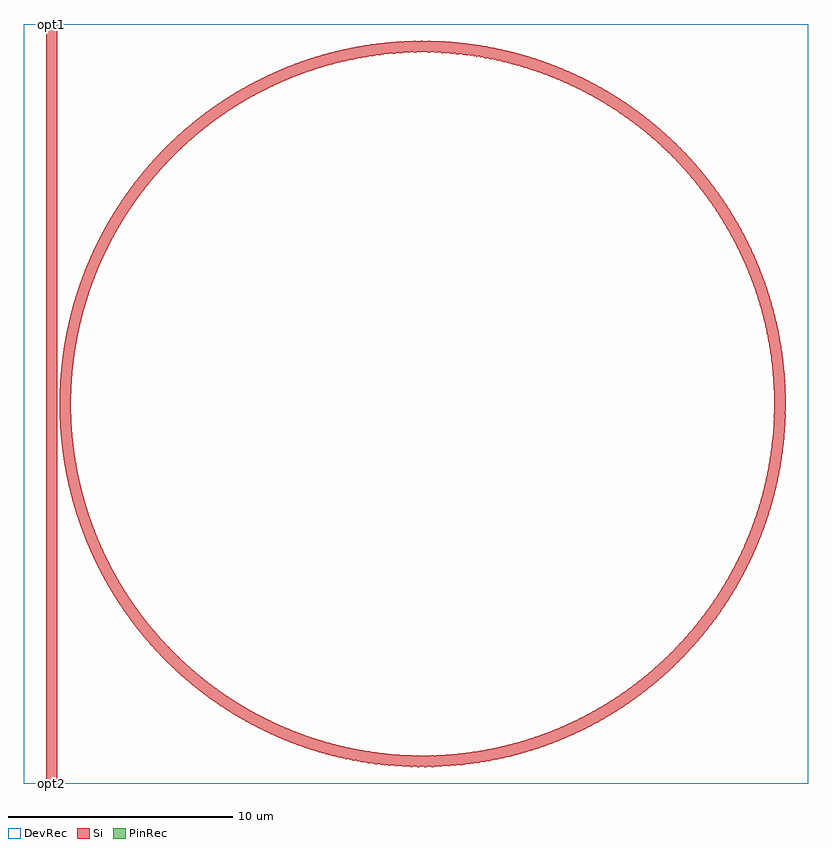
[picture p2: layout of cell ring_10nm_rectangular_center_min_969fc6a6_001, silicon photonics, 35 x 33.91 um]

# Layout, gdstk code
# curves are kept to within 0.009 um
import gdstk
lib = gdstk.Library(unit=1e-6, precision=1e-09)
def R(c, l, rs):  # rectangles x0, y0, x1, y1
    for r in rs: c.add(gdstk.rectangle(r[:2], r[2:], *l))
def P(c, l, *ps):  # polygons
    for p in ps: c.add(gdstk.Polygon(p, *l))
Si = (1, 0)
PinRec = (1, 10)
DevRec = (68, 0)

ring_10nm_rectangular_ce = lib.new_cell('ring_10nm_rectangular_center_min_969fc6a6_001')
R(ring_10nm_rectangular_ce, Si, [(-16.793,-16.943,-16.293,16.943)])
P(ring_10nm_rectangular_ce, Si, [(3.963,15.174),(3.757,15.237),(3.62,15.259),(3.608,15.273),(3.1,15.384),(3.095,15.374),(3.02,15.389),(2.984,15.407),(2.487,15.495),(2.482,15.485),(2.385,15.511),(1.94,15.572),(2.002,16.069),(2.224,16.05),(2.253,16.035),(2.476,16.002),(2.495,16.01),(2.786,15.951),(2.796,15.96),(2.865,15.948),(2.888,15.933),(3.106,15.892),(3.141,15.896),(3.416,15.828),(3.431,15.836),(3.734,15.756),(3.743,15.765),(3.826,15.745),(3.838,15.731),(4.045,15.679),(4.053,15.688),(4.095,15.677)],
  [(9.492,12.484),(9.482,12.505),(9.236,12.674),(9.226,12.695),(8.991,12.849),(8.983,12.868),(8.825,12.977),(8.809,12.975),(8.728,13.029),(8.7,13.061),(8.469,13.199),(8.465,13.214),(8.308,13.314),(8.285,13.316),(8.152,13.41),(7.979,13.501),(7.778,13.63),(8.026,14.064),(8.255,13.943),(8.286,13.912),(8.463,13.805),(8.482,13.806),(8.577,13.734),(8.83,13.586),(8.839,13.567),(9.036,13.45),(9.118,13.381),(9.362,13.225),(9.378,13.2),(9.58,13.068),(9.786,12.901),(9.807,12.898)],
  [(6.563,-14.803),(6.36,-14.346),(6.418,-14.309),(6.696,-14.193),(6.694,-14.182),(6.782,-14.14),(6.789,-14.148),(6.843,-14.123),(6.973,-14.059),(6.981,-14.043),(7.254,-13.916),(7.252,-13.905),(7.336,-13.861),(7.359,-13.861),(7.528,-13.77),(7.525,-13.759),(7.791,-13.623),(7.885,-13.556),(7.893,-13.564),(7.929,-13.543),(8.154,-13.396),(8.187,-13.388),(8.448,-13.815),(8.424,-13.841),(7.512,-14.357),(7.485,-14.359),(7.295,-14.456),(7.297,-14.467),(7.019,-14.592),(6.925,-14.649),(6.904,-14.647),(6.716,-14.734),(6.709,-14.749)],
  [(-15.587,1.822),(-16.083,1.88),(-16.088,1.924),(-16.077,1.932),(-16.038,2.231),(-16.047,2.244),(-16.036,2.249),(-15.99,2.553),(-15.999,2.564),(-15.988,2.565),(-15.936,2.872),(-15.945,2.88),(-15.933,2.887),(-15.876,3.186),(-15.886,3.191),(-15.873,3.201),(-15.81,3.499),(-15.819,3.507),(-15.806,3.517),(-15.737,3.814),(-15.746,3.822),(-15.732,3.834),(-15.698,3.973),(-15.213,3.851),(-15.427,2.879),(-15.442,2.795),(-15.433,2.787),(-15.445,2.78),(-15.495,2.486),(-15.485,2.482),(-15.497,2.475),(-15.517,2.346),(-15.541,2.18),(-15.531,2.175),(-15.543,2.165),(-15.578,1.899),(-15.572,1.862)],
  [(-4.195,15.122),(-4.329,15.603),(-4.176,15.656),(-4.138,15.655),(-3.899,15.716),(-3.872,15.734),(-3.83,15.744),(-3.822,15.735),(-3.588,15.79),(-3.575,15.804),(-3.269,15.859),(-3.265,15.871),(-2.958,15.92),(-2.915,15.939),(-2.877,15.935),(-2.64,15.976),(-2.596,15.994),(-2.569,15.998),(-2.565,15.988),(-2.253,16.046),(-2.245,16.036),(-2.177,15.531),(-2.462,15.499),(-2.487,15.484),(-2.573,15.481),(-3.096,15.385),(-3.105,15.372),(-3.307,15.341),(-3.46,15.296),(-3.483,15.302)],
  [(11.054,11.138),(10.929,11.247),(10.762,11.422),(10.752,11.416),(10.681,11.483),(10.641,11.535),(10.496,11.652),(10.3,11.84),(10.291,11.834),(10.228,11.888),(10.195,11.931),(10.016,12.067),(9.824,12.238),(9.811,12.235),(9.741,12.29),(9.725,12.317),(9.492,12.484),(9.807,12.898),(10.621,12.237),(10.632,12.213),(10.776,12.086),(10.788,12.09),(10.997,11.885),(11.096,11.808),(11.104,11.786),(11.243,11.653),(11.266,11.646),(11.407,11.493)],
  [(-16.191,-0.245),(-16.19,0.318),(-16.2,0.322),(-16.189,0.331),(-16.164,0.961),(-16.174,0.964),(-16.163,0.976),(-16.142,1.277),(-16.152,1.287),(-16.141,1.289),(-16.113,1.602),(-16.123,1.606),(-16.112,1.614),(-16.084,1.877),(-15.587,1.822),(-15.673,0.798),(-15.691,-0.238)],
  [(-13.688,7.674),(-14.125,7.919),(-14.09,8.001),(-14.075,8.006),(-13.931,8.254),(-13.934,8.27),(-13.914,8.283),(-13.765,8.528),(-13.76,8.556),(-13.741,8.566),(-13.594,8.798),(-13.593,8.819),(-13.569,8.836),(-13.414,9.07),(-13.406,9.101),(-13.39,9.105),(-13.234,9.331),(-13.227,9.359),(-13.206,9.37),(-13.047,9.59),(-13.045,9.611),(-12.964,9.703),(-12.564,9.403),(-13.133,8.591),(-13.155,8.556),(-13.148,8.548),(-13.183,8.514),(-13.322,8.294),(-13.319,8.279),(-13.339,8.267),(-13.415,8.144),(-13.485,8.027),(-13.477,8.019),(-13.5,8.002),(-13.642,7.757),(-13.636,7.746)],
  [(11.75,-11.143),(11.387,-10.799),(11.448,-10.734),(11.45,-10.716),(11.54,-10.635),(11.687,-10.457),(11.801,-10.345),(11.899,-10.215),(12.06,-10.042),(12.059,-10.026),(12.121,-9.951),(12.167,-9.912),(12.328,-9.693),(12.342,-9.693),(12.44,-9.567),(12.51,-9.457),(12.533,-9.445),(12.697,-9.206),(13.118,-9.511),(12.471,-10.345),(12.446,-10.359),(12.326,-10.501),(12.33,-10.513),(12.154,-10.699),(12.057,-10.825),(12.014,-10.856),(11.899,-10.982),(11.903,-10.994)],
  [(5.923,14.532),(4.957,14.89),(4.892,14.9),(4.819,14.924),(4.816,14.936),(4.523,15.016),(4.52,15.028),(4.362,15.075),(4.305,15.08),(4.014,15.171),(3.963,15.174),(4.095,15.677),(4.145,15.653),(4.451,15.58),(4.451,15.569),(4.661,15.507),(4.676,15.514),(4.758,15.489),(4.763,15.476),(5.063,15.392),(5.065,15.38),(5.276,15.309),(5.297,15.313),(5.557,15.209),(5.67,15.179),(5.677,15.165),(5.865,15.093),(5.895,15.093),(6.112,14.995)],
  [(-14.577,5.813),(-15.041,5.998),(-14.937,6.252),(-14.94,6.273),(-14.929,6.271),(-14.813,6.54),(-14.818,6.555),(-14.797,6.576),(-14.681,6.831),(-14.679,6.861),(-14.659,6.878),(-14.539,7.128),(-14.547,7.136),(-14.527,7.153),(-14.401,7.403),(-14.395,7.438),(-14.38,7.444),(-14.246,7.697),(-14.254,7.705),(-14.232,7.724),(-14.125,7.919),(-13.688,7.674),(-13.938,7.212),(-13.934,7.196),(-13.953,7.183),(-14.074,6.943),(-14.072,6.922),(-14.092,6.906),(-14.168,6.749)],
  [(-1.772,-16.106),(-2.792,-15.961),(-2.814,-15.946),(-3.039,-15.905),(-3.059,-15.912),(-3.355,-15.841),(-3.36,-15.851),(-3.426,-15.837),(-3.43,-15.825),(-3.662,-15.773),(-3.697,-15.776),(-3.854,-15.727),(-3.735,-15.242),(-3.145,-15.375),(-3.015,-15.401),(-3.004,-15.392),(-2.713,-15.457),(-2.702,-15.448),(-2.638,-15.459),(-2.637,-15.47),(-2.585,-15.479),(-2.404,-15.508),(-2.385,-15.5),(-2.332,-15.508),(-2.331,-15.519),(-2.094,-15.553),(-2.09,-15.543),(-2.034,-15.55),(-1.948,-15.572),(-1.712,-15.589),(-1.758,-16.097)],
  [(-15.213,3.851),(-15.698,3.973),(-15.66,4.118),(-15.666,4.138),(-15.653,4.145),(-15.574,4.432),(-15.582,4.444),(-15.569,4.45),(-15.483,4.742),(-15.492,4.748),(-15.475,4.768),(-15.386,5.047),(-15.395,5.053),(-15.38,5.067),(-15.282,5.353),(-15.287,5.371),(-15.276,5.37),(-15.184,5.625),(-15.177,5.675),(-15.166,5.674),(-15.062,5.944),(-15.061,5.976),(-15.041,5.998),(-14.577,5.813),(-14.577,5.784),(-14.594,5.769),(-14.686,5.532),(-14.69,5.492),(-14.72,5.441),(-14.894,4.945),(-14.905,4.911),(-14.896,4.905),(-14.918,4.872),(-15.081,4.341),(-15.081,4.301),(-15.094,4.296),(-15.171,4.014),(-15.163,4.003),(-15.178,3.988)],
  [(15.557,2.058),(15.385,3.095),(15.371,3.11),(15.344,3.24),(15.351,3.26),(15.279,3.534),(15.287,3.548),(15.255,3.683),(15.236,3.715),(15.174,4.004),(15.143,4.078),(15.645,4.213),(15.697,3.975),(15.709,3.971),(15.74,3.847),(15.734,3.827),(15.772,3.667),(15.792,3.628),(15.816,3.521),(15.807,3.512),(15.882,3.21),(15.874,3.197),(15.906,3.032),(15.919,3.022),(15.944,2.887),(15.936,2.87),(15.997,2.578),(15.989,2.561),(16.013,2.404),(16.026,2.391),(16.053,2.124)],
  [(-12.664,-10.091),(-12.73,-10.007),(-12.748,-10.002),(-12.758,-9.971),(-12.927,-9.752),(-12.943,-9.748),(-12.949,-9.722),(-13.117,-9.494),(-13.135,-9.488),(-13.142,-9.46),(-13.302,-9.233),(-13.325,-9.219),(-13.323,-9.203),(-13.484,-8.966),(-13.508,-8.949),(-13.504,-8.936),(-13.66,-8.695),(-13.672,-8.696),(-13.678,-8.667),(-13.831,-8.421),(-13.843,-8.421),(-13.877,-8.346),(-13.45,-8.085),(-12.914,-8.917),(-12.9,-8.918),(-12.882,-8.963),(-12.737,-9.168),(-12.716,-9.178),(-12.666,-9.266),(-12.273,-9.779)],
  [(0.402,-16.198),(0.368,-16.189),(0.357,-15.689),(0.412,-15.677),(0.481,-15.686),(0.76,-15.664),(0.926,-15.666),(1.023,-15.649),(1.315,-15.638),(1.32,-15.627),(1.399,-15.62),(1.403,-15.63),(1.441,-15.627),(2.411,-15.507),(2.488,-16.001),(2.33,-16.035),(2.316,-16.026),(2.09,-16.057),(2.067,-16.071),(2.003,-16.079),(1.996,-16.069),(1.688,-16.115),(1.681,-16.105),(1.454,-16.127),(1.443,-16.139)],
  [(1.866,15.571),(1.644,15.607),(1.546,15.606),(1.476,15.613),(1.474,15.624),(1.167,15.639),(1.165,15.65),(0.991,15.662),(0.928,15.655),(0.837,15.671),(0.545,15.673),(0.54,15.684),(0.41,15.688),(0.274,15.68),(0.206,15.692),(-0.119,15.692),(-0.123,16.192),(-0.08,16.203),(0.213,16.191),(0.277,16.201),(0.331,16.189),(0.56,16.183),(0.578,16.193),(0.87,16.169),(0.941,16.176),(0.977,16.163),(1.199,16.148),(1.212,16.158),(1.508,16.122),(1.591,16.125),(1.611,16.112),(1.836,16.088),(1.843,16.098),(2.002,16.069),(1.94,15.572),(1.87,15.581)],
  [(15.683,0),(15.691,0.272),(15.679,0.328),(15.676,0.466),(15.686,0.478),(15.664,0.761),(15.674,0.779),(15.667,0.909),(15.654,0.944),(15.645,1.085),(15.655,1.095),(15.621,1.388),(15.622,1.495),(15.604,1.567),(15.59,1.702),(15.6,1.709),(15.555,1.995),(15.557,2.058),(16.053,2.124),(16.07,2.074),(16.091,1.809),(16.11,1.735),(16.123,1.61),(16.113,1.603),(16.152,1.288),(16.142,1.278),(16.153,1.13),(16.166,1.1),(16.174,0.969),(16.164,0.959),(16.19,0.655),(16.18,0.643),(16.185,0.49),(16.197,0.454),(16.19,0.277),(16.203,0)],
  [(15.13,-5.769),(14.663,-5.591),(15.004,-4.6),(14.997,-4.586),(15.035,-4.461),(15.049,-4.45),(15.091,-4.306),(15.083,-4.294),(15.174,-4.004),(15.165,-3.995),(15.216,-3.841),(15.26,-3.618),(15.766,-3.738),(15.747,-3.818),(15.733,-3.83),(15.671,-4.119),(15.658,-4.128),(15.613,-4.293),(15.622,-4.299),(15.608,-4.352),(15.566,-4.46),(15.496,-4.735),(15.481,-4.749),(15.433,-4.901),(15.437,-4.924),(15.34,-5.184),(15.292,-5.355),(15.282,-5.354),(15.227,-5.509),(15.22,-5.559)],
  [(4.568,-15.546),(4.421,-15.047),(4.574,-15.012),(4.757,-14.944),(4.763,-14.953),(5.239,-14.793),(5.346,-14.743),(5.353,-14.752),(5.414,-14.73),(6.36,-14.346),(6.563,-14.803),(6.341,-14.911),(6.325,-14.906),(6.126,-14.989),(6.113,-15.006),(5.831,-15.106),(5.826,-15.119),(5.747,-15.15),(5.697,-15.157),(5.523,-15.222),(5.504,-15.24),(5.435,-15.264),(5.428,-15.256),(5.147,-15.364),(5.123,-15.361),(4.917,-15.428),(4.915,-15.44),(4.615,-15.521)],
  [(13.118,-9.511),(12.697,-9.206),(12.813,-9.061),(12.884,-8.941),(12.898,-8.94),(13.017,-8.746),(13.163,-8.545),(13.165,-8.522),(13.224,-8.43),(13.249,-8.411),(13.394,-8.157),(13.408,-8.155),(13.478,-8.039),(13.553,-7.891),(13.574,-7.876),(13.664,-7.696),(13.803,-7.466),(14.243,-7.704),(14.109,-7.968),(14.086,-7.986),(14.001,-8.134),(13.998,-8.161),(13.902,-8.302),(13.772,-8.537),(13.761,-8.534),(13.632,-8.759),(13.488,-8.96),(13.48,-8.991),(13.396,-9.096),(13.242,-9.338),(13.228,-9.339),(13.122,-9.488)],
  [(12.412,9.586),(12.291,9.758),(12.243,9.818),(12.227,9.82),(12.159,9.905),(12.161,9.919),(11.985,10.114),(11.959,10.146),(11.965,10.155),(11.861,10.276),(11.816,10.311),(11.756,10.38),(11.756,10.396),(11.64,10.526),(11.604,10.549),(11.454,10.728),(11.41,10.759),(11.326,10.863),(11.118,11.06),(11.123,11.07),(11.054,11.138),(11.407,11.493),(11.509,11.406),(11.701,11.193),(11.715,11.194),(11.792,11.112),(11.789,11.1),(12.01,10.877),(12.006,10.865),(12.134,10.722),(12.152,10.718),(12.822,9.907)],
  [(-7.983,13.51),(-8.238,13.941),(-8.019,14.08),(-8,14.078),(-7.782,14.2),(-7.766,14.221),(-7.492,14.355),(-7.489,14.369),(-7.448,14.39),(-7.435,14.385),(-7.201,14.503),(-7.203,14.514),(-6.927,14.636),(-6.874,14.673),(-6.853,14.671),(-6.628,14.774),(-6.594,14.801),(-6.556,14.806),(-6.338,14.901),(-6.142,14.441),(-6.639,14.22),(-6.645,14.205),(-6.711,14.186),(-6.969,14.049),(-6.979,14.056),(-7.101,13.995)],
  [(15.766,-3.738),(15.26,-3.618),(15.274,-3.557),(15.285,-3.557),(15.341,-3.255),(15.362,-3.208),(15.385,-3.095),(15.379,-3.07),(15.439,-2.814),(15.459,-2.64),(15.472,-2.625),(15.613,-1.586),(16.11,-1.636),(16.096,-1.862),(16.058,-2.084),(16.065,-2.113),(16.034,-2.26),(16,-2.556),(15.989,-2.561),(15.962,-2.723),(15.972,-2.728)],
  [(7.778,13.63),(7.75,13.634),(7.662,13.684),(7.665,13.694),(7.21,13.939),(7.202,13.931),(7.097,13.997),(6.841,14.112),(6.824,14.132),(5.923,14.532),(6.112,14.995),(6.268,14.942),(6.278,14.926),(6.465,14.846),(6.492,14.846),(6.757,14.715),(6.85,14.684),(6.865,14.665),(7.052,14.576),(7.079,14.575),(8.007,14.086),(8.026,14.064)],
  [(8.448,-13.815),(8.187,-13.388),(8.594,-13.131),(8.615,-13.104),(8.7,-13.061),(8.938,-12.886),(8.946,-12.893),(9.07,-12.807),(9.114,-12.762),(9.226,-12.695),(9.421,-12.537),(9.451,-12.528),(9.597,-12.417),(9.611,-12.392),(9.725,-12.317),(9.866,-12.191),(10.193,-12.595),(10.163,-12.606),(10.01,-12.728),(10.012,-12.74),(9.759,-12.921),(9.756,-12.937),(9.683,-12.992),(9.659,-12.996),(9.417,-13.186),(9.398,-13.186),(9.236,-13.3),(9.215,-13.328),(9.118,-13.381),(8.899,-13.541),(8.87,-13.547),(8.693,-13.661),(8.676,-13.685)],
  [(10.193,-12.595),(9.866,-12.191),(10.073,-12.034),(10.093,-12.003),(10.172,-11.936),(10.195,-11.931),(10.329,-11.815),(10.335,-11.795),(10.532,-11.634),(10.56,-11.608),(10.555,-11.599),(10.638,-11.523),(10.654,-11.522),(10.827,-11.345),(10.996,-11.197),(11.018,-11.16),(11.089,-11.09),(11.103,-11.091),(11.306,-10.868),(11.315,-10.873),(11.387,-10.799),(11.75,-11.143),(11.607,-11.306),(11.589,-11.309),(11.452,-11.448),(11.455,-11.46),(11.221,-11.674),(11.226,-11.684),(11.167,-11.741),(11.142,-11.764),(11.133,-11.758),(10.997,-11.885),(10.98,-11.916)],
  [(-16.019,-2.367),(-16.057,-2.092),(-16.068,-2.087),(-16.059,-2.077),(-16.095,-1.774),(-16.107,-1.763),(-16.097,-1.756),(-16.126,-1.465),(-16.138,-1.448),(-16.129,-1.432),(-16.153,-1.131),(-16.164,-1.126),(-16.154,-1.116),(-16.172,-0.815),(-16.183,-0.803),(-16.173,-0.793),(-16.185,-0.489),(-16.196,-0.483),(-16.186,-0.48),(-16.191,-0.245),(-15.691,-0.238),(-15.677,-0.716),(-15.674,-0.775),(-15.664,-0.777),(-15.673,-0.798),(-15.639,-1.305),(-15.524,-2.294)],
  [(-5.884,-15.086),(-6.116,-14.993),(-6.142,-14.994),(-6.189,-14.963),(-6.417,-14.867),(-6.432,-14.872),(-6.481,-14.839),(-6.766,-14.723),(-6.775,-14.707),(-7.042,-14.593),(-7.059,-14.573),(-7.291,-14.458),(-7.299,-14.466),(-7.337,-14.447),(-7.348,-14.429),(-7.629,-14.295),(-7.632,-14.281),(-7.812,-14.184),(-7.57,-13.746),(-6.639,-14.22),(-5.702,-14.62)],
  [(-3.857,-15.727),(-4.046,-15.69),(-4.049,-15.678),(-4.294,-15.613),(-4.323,-15.616),(-4.361,-15.605),(-4.361,-15.594),(-4.666,-15.517),(-4.669,-15.505),(-4.91,-15.43),(-4.934,-15.434),(-4.974,-15.41),(-5.217,-15.329),(-5.235,-15.334),(-5.513,-15.225),(-5.525,-15.232),(-5.577,-15.213),(-5.582,-15.2),(-5.818,-15.111),(-5.828,-15.119),(-5.882,-15.098),(-5.702,-14.62),(-5.69,-14.614),(-5.457,-14.714),(-4.697,-14.974),(-3.735,-15.242)],
  [(-14.852,-6.451),(-14.879,-6.416),(-14.875,-6.398),(-14.987,-6.131),(-15.004,-6.118),(-14.999,-6.102),(-15.109,-5.825),(-15.122,-5.82),(-15.12,-5.796),(-15.222,-5.522),(-15.233,-5.523),(-15.23,-5.499),(-15.327,-5.223),(-15.339,-5.221),(-15.335,-5.2),(-15.429,-4.914),(-15.443,-4.905),(-15.435,-4.896),(-15.524,-4.605),(-15.536,-4.602),(-15.529,-4.588),(-15.57,-4.447),(-15.089,-4.31),(-14.81,-5.191),(-14.65,-5.626),(-14.637,-5.63),(-14.615,-5.717),(-14.427,-6.176),(-14.403,-6.204),(-14.394,-6.252)],
  [(0.082,-16.203),(0.078,-16.193),(-0.208,-16.202),(-0.241,-16.191),(-0.482,-16.186),(-0.489,-16.196),(-0.793,-16.173),(-0.869,-16.18),(-0.89,-16.168),(-1.171,-16.161),(-1.203,-16.148),(-1.443,-16.128),(-1.487,-16.135),(-1.758,-16.097),(-1.704,-15.6),(-0.671,-15.679),(0.357,-15.689),(0.368,-16.189)],
  [(-15.57,-4.447),(-15.612,-4.297),(-15.623,-4.297),(-15.619,-4.271),(-15.693,-3.991),(-15.707,-3.979),(-15.699,-3.968),(-15.77,-3.674),(-15.784,-3.662),(-15.775,-3.654),(-15.839,-3.365),(-15.852,-3.355),(-15.844,-3.341),(-15.904,-3.043),(-15.915,-3.041),(-15.908,-3.022),(-15.961,-2.728),(-15.973,-2.72),(-15.964,-2.713),(-16.012,-2.412),(-16.024,-2.401),(-16.019,-2.367),(-15.524,-2.294),(-15.509,-2.327),(-15.517,-2.346),(-15.421,-2.911),(-15.405,-2.938),(-15.413,-2.951),(-15.355,-3.241),(-15.342,-3.25),(-15.347,-3.279),(-15.215,-3.845),(-15.203,-3.848),(-15.207,-3.877),(-15.089,-4.31)],
  [(-13.878,-8.343),(-14.017,-8.128),(-14.011,-8.117),(-14.154,-7.866),(-14.169,-7.86),(-14.17,-7.836),(-14.305,-7.587),(-14.319,-7.584),(-14.321,-7.557),(-14.455,-7.298),(-14.477,-7.278),(-14.474,-7.259),(-14.595,-7.013),(-14.61,-7.007),(-14.611,-6.98),(-14.728,-6.729),(-14.753,-6.7),(-14.747,-6.687),(-14.852,-6.451),(-14.394,-6.252),(-13.949,-7.191),(-13.45,-8.085)],
  [(-12.564,9.403),(-12.964,9.703),(-12.855,9.846),(-12.849,9.872),(-12.829,9.88),(-12.658,10.098),(-12.661,10.112),(-12.628,10.136),(-12.456,10.346),(-12.437,10.386),(-12.427,10.381),(-12.227,10.632),(-12.218,10.627),(-12.032,10.837),(-12.017,10.869),(-11.999,10.873),(-11.813,11.075),(-11.804,11.1),(-11.786,11.104),(-11.592,11.306),(-11.587,11.326),(-11.215,10.963),(-11.243,10.949),(-11.372,10.815),(-11.425,10.743),(-11.455,10.727),(-11.837,10.304),(-11.844,10.279),(-11.866,10.27),(-12.042,10.063),(-12.043,10.045),(-12.066,10.034),(-12.181,9.895),(-12.241,9.803),(-12.279,9.773),(-12.43,9.58),(-12.443,9.545),(-12.455,9.547)],
  [(-11.215,10.963),(-11.587,11.326),(-11.562,11.337),(-11.375,11.524),(-11.35,11.564),(-11.327,11.571),(-11.136,11.755),(-11.115,11.79),(-11.103,11.787),(-10.904,11.971),(-10.898,11.991),(-10.861,12.01),(-10.663,12.186),(-10.659,12.204),(-10.633,12.226),(-10.624,12.22),(-10.418,12.396),(-10.397,12.428),(-10.369,12.437),(-10.171,12.6),(-10.159,12.623),(-9.995,12.74),(-9.686,12.347),(-10.476,11.685),(-10.53,11.622),(-10.616,11.558),(-10.76,11.423),(-10.766,11.403),(-10.793,11.392),(-10.957,11.235),(-11.006,11.172),(-11.016,11.177),(-11.187,11.006)],
  [(-7.812,-14.184),(-7.902,-14.146),(-7.915,-14.126),(-8.14,-13.998),(-8.151,-14.004),(-8.211,-13.956),(-8.462,-13.818),(-8.465,-13.804),(-8.687,-13.665),(-8.734,-13.648),(-8.751,-13.624),(-8.958,-13.489),(-8.979,-13.488),(-9.006,-13.457),(-9.271,-13.289),(-9.275,-13.273),(-9.489,-13.121),(-9.517,-13.114),(-9.604,-13.037),(-9.308,-12.635),(-8.474,-13.209),(-8.458,-13.206),(-8.229,-13.363),(-8.175,-13.383),(-8.087,-13.449),(-7.94,-13.536),(-7.909,-13.542),(-7.889,-13.566),(-7.674,-13.689),(-7.625,-13.704),(-7.57,-13.746)],
  [(16.11,-1.636),(15.613,-1.586),(15.606,-1.547),(15.639,-1.304),(15.634,-1.232),(15.644,-1.097),(15.656,-1.08),(15.662,-0.799),(15.678,-0.694),(15.671,-0.599),(15.69,-0.325),(15.68,-0.31),(15.682,-0.156),(15.692,-0.154),(15.693,-0.106),(15.693,-0.003),(15.683,0),(16.203,0),(16.193,-0.003),(16.201,-0.274),(16.189,-0.332),(16.186,-0.481),(16.196,-0.488),(16.173,-0.792),(16.183,-0.808),(16.177,-0.923),(16.163,-0.977),(16.153,-1.276),(16.142,-1.284),(16.128,-1.445),(16.137,-1.465)],
  [(13.571,7.881),(13.023,8.757),(12.961,8.829),(12.898,8.94),(12.808,9.068),(12.789,9.076),(12.623,9.324),(12.613,9.32),(12.533,9.445),(12.412,9.586),(12.823,9.904),(12.832,9.876),(12.945,9.728),(12.964,9.72),(13.136,9.468),(13.146,9.472),(13.191,9.41),(13.221,9.367),(13.214,9.359),(13.322,9.204),(13.336,9.203),(13.493,8.952),(13.539,8.902),(13.582,8.835),(13.575,8.827),(13.672,8.676),(13.686,8.674),(13.844,8.399),(13.856,8.399),(13.899,8.329),(14.003,8.132)],
  [(-6.125,14.437),(-6.142,14.441),(-6.338,14.901),(-6.328,14.916),(-5.382,15.283),(-5.37,15.277),(-5.087,15.384),(-5.049,15.385),(-4.84,15.452),(-4.768,15.486),(-4.75,15.48),(-4.514,15.551),(-4.514,15.562),(-4.329,15.603),(-4.195,15.122),(-5.154,14.823),(-5.204,14.805),(-5.203,14.795),(-5.271,14.781),(-5.763,14.597),(-5.786,14.576),(-5.993,14.504)],
  [(14.487,6.033),(14.469,6.076),(14.458,6.075),(14.406,6.197),(14.409,6.218),(14.282,6.478),(14.289,6.488),(14.239,6.598),(14.198,6.66),(14.081,6.928),(14.07,6.926),(14.015,7.037),(13.994,7.103),(13.678,7.694),(13.569,7.863),(13.571,7.881),(14.003,8.132),(14.021,8.121),(14.159,7.856),(14.198,7.808),(14.254,7.682),(14.382,7.464),(14.384,7.437),(14.461,7.285),(14.49,7.252),(14.938,6.277),(14.93,6.27),(14.949,6.225)],
  [(15.143,4.078),(15.096,4.289),(15.042,4.436),(15.049,4.45),(14.955,4.721),(14.958,4.747),(14.91,4.896),(14.896,4.906),(14.854,5.03),(14.854,5.064),(14.487,6.033),(14.949,6.225),(15.048,6.009),(15.116,5.806),(15.13,5.799),(15.196,5.592),(15.281,5.387),(15.332,5.21),(15.349,5.191),(15.645,4.216)],
  [(16.191,-0.254),(15.691,-0.246),(15.691,0.246),(16.191,0.254)],
  [(-2.176,15.541),(-2.242,16.037),(-1.938,16.087),(-1.922,16.078),(-1.683,16.105),(-1.678,16.116),(-1.385,16.133),(-1.289,16.152),(-1.279,16.142),(-1.045,16.159),(-1.037,16.17),(-0.729,16.176),(-0.72,16.187),(-0.656,16.19),(-0.634,16.18),(-0.376,16.199),(-0.123,16.192),(-0.119,15.692),(-1.125,15.653),(-1.243,15.644),(-1.268,15.631),(-1.328,15.637),(-1.546,15.617),(-1.615,15.599),(-1.672,15.604)],
  [(-9.604,-13.037),(-9.784,-12.916),(-9.79,-12.898),(-9.997,-12.738),(-10.035,-12.722),(-10.043,-12.702),(-10.254,-12.532),(-10.275,-12.529),(-10.303,-12.492),(-10.78,-12.097),(-10.784,-12.079),(-10.985,-11.897),(-11.008,-11.89),(-11.019,-11.866),(-11.218,-11.677),(-11.238,-11.672),(-10.878,-11.297),(-10.872,-11.317),(-10.778,-11.407),(-10.641,-11.52),(-10.642,-11.534),(-10.223,-11.907),(-10.2,-11.912),(-10.169,-11.953),(-9.979,-12.112),(-9.958,-12.115),(-9.94,-12.144),(-9.779,-12.274),(-9.733,-12.31),(-9.724,-12.304),(-9.684,-12.349),(-9.488,-12.5),(-9.474,-12.497),(-9.308,-12.635)],
  [(-9.686,12.347),(-9.995,12.74),(-9.898,12.829),(-9.872,12.835),(-9.661,12.995),(-9.645,13.02),(-9.609,13.033),(-9.407,13.18),(-9.386,13.208),(-9.357,13.215),(-9.142,13.365),(-9.123,13.391),(-9.092,13.399),(-8.876,13.543),(-8.867,13.562),(-8.836,13.582),(-8.825,13.576),(-8.617,13.709),(-8.587,13.741),(-8.555,13.748),(-8.329,13.886),(-8.332,13.897),(-8.238,13.941),(-7.983,13.51),(-8.797,12.996),(-8.81,12.974),(-8.943,12.896),(-9.096,12.775),(-9.129,12.765)],
  [(14.243,-7.704),(13.797,-7.456),(13.947,-7.195),(13.943,-7.179),(13.999,-7.069),(14.014,-7.063),(14.09,-6.91),(14.082,-6.903),(14.096,-6.873),(14.219,-6.641),(14.224,-6.604),(14.271,-6.502),(14.282,-6.504),(14.392,-6.23),(14.409,-6.218),(14.445,-6.134),(14.475,-6.034),(14.518,-5.931),(14.529,-5.932),(14.63,-5.648),(14.663,-5.591),(15.13,-5.769),(15.119,-5.827),(14.991,-6.121),(15,-6.127),(14.95,-6.249),(14.934,-6.259),(14.866,-6.419),(14.87,-6.437),(14.795,-6.58),(14.694,-6.829),(14.675,-6.844),(14.601,-7.001),(14.608,-7.011),(14.457,-7.293),(14.465,-7.301),(14.421,-7.388),(14.389,-7.426),(14.255,-7.703)],
  [(2.488,-16.001),(2.411,-15.507),(2.554,-15.484),(2.555,-15.473),(2.584,-15.468),(2.851,-15.432),(2.921,-15.408),(2.958,-15.412),(3.47,-15.305),(3.473,-15.293),(3.554,-15.275),(3.565,-15.283),(4.049,-15.162),(4.075,-15.144),(4.257,-15.105),(4.421,-15.047),(4.568,-15.546),(4.518,-15.56),(4.512,-15.551),(4.213,-15.646),(4.201,-15.638),(3.995,-15.692),(3.98,-15.707),(3.9,-15.727),(3.891,-15.718),(3.588,-15.801),(3.574,-15.793),(3.36,-15.84),(3.356,-15.852),(3.269,-15.87),(3.264,-15.86),(2.958,-15.931),(2.947,-15.922),(2.728,-15.961),(2.721,-15.973)],
  [(-11.238,-11.672),(-11.449,-11.451),(-11.482,-11.433),(-11.479,-11.421),(-11.647,-11.249),(-11.695,-11.215),(-11.704,-11.19),(-11.894,-10.988),(-11.904,-10.993),(-11.925,-10.954),(-12.105,-10.755),(-12.123,-10.751),(-12.141,-10.714),(-12.321,-10.507),(-12.341,-10.5),(-12.351,-10.472),(-12.522,-10.266),(-12.542,-10.259),(-12.664,-10.091),(-12.273,-9.779),(-11.979,-10.138),(-11.948,-10.158),(-11.918,-10.21),(-11.575,-10.597),(-11.538,-10.622),(-11.517,-10.66),(-11.309,-10.865),(-11.31,-10.879),(-11.187,-11.006),(-11.09,-11.089),(-11.079,-11.115),(-10.904,-11.286),(-10.878,-11.297)])
R(ring_10nm_rectangular_ce, DevRec, [(-17.793,-16.943,17.203,16.943)])
ring_10nm_rectangular_ce.add(gdstk.FlexPath([(-16.543,-16.933),(-16.543,-16.953)], 0.5, ends="flush", simple_path=True, layer=1, datatype=10))  # PinRec
ring_10nm_rectangular_ce.add(gdstk.FlexPath([(-16.543,16.933),(-16.543,16.953)], 0.5, ends="flush", simple_path=True, layer=1, datatype=10))  # PinRec
ring_10nm_rectangular_ce.add(gdstk.Label('opt2', (-16.543,-16.943), layer=1, texttype=10))
ring_10nm_rectangular_ce.add(gdstk.Label('opt1', (-16.543,16.943), layer=1, texttype=10))

lib.write_gds('ring_10nm_rectangular_center_min_969fc6a6_001.gds')
